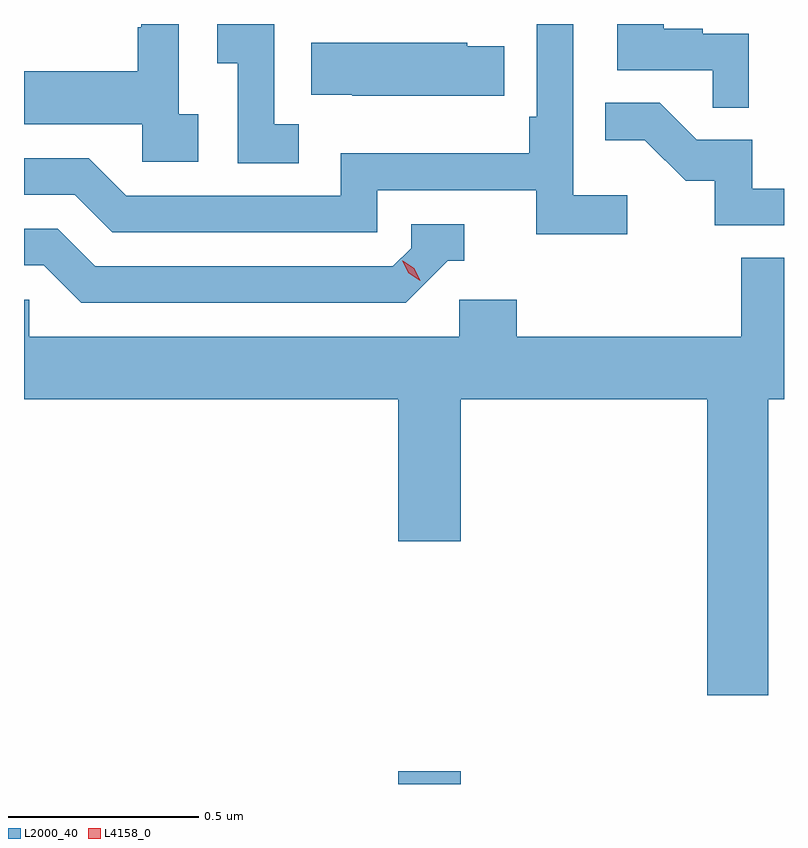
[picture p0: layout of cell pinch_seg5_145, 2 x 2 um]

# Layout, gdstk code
import gdstk
lib = gdstk.Library(unit=1e-6, precision=1e-09)
def R(c, l, rs):  # rectangles x0, y0, x1, y1
    for r in rs: c.add(gdstk.rectangle(r[:2], r[2:], *l))
def P(c, l, *ps):  # polygons
    for p in ps: c.add(gdstk.Polygon(p, *l))
L2000_40 = (2000, 40)
L4158_0 = (4158, 0)

pinch_seg5_145 = lib.new_cell('pinch_seg5_145')
R(pinch_seg5_145, L2000_40, [(1016.156,873.063,1016.32,873.097)])
P(pinch_seg5_145, L2000_40, [(1015.894,874.799),(1015.83,874.799),(1015.83,875.063),(1015.679,875.063),(1015.679,874.96),(1015.734,874.96),(1015.734,874.696),(1015.894,874.696)],
  [(1016.758,874.612),(1016.616,874.612),(1016.616,875.063),(1016.52,875.063),(1016.52,874.819),(1016.5,874.819),(1016.5,874.723),(1016.004,874.723),(1016.004,874.611),(1015.44,874.611),(1015.341,874.71),(1015.171,874.71),(1015.171,874.614),(1015.304,874.614),(1015.403,874.515),(1016.1,874.515),(1016.1,874.626),(1016.519,874.626),(1016.519,874.51),(1016.758,874.51)],
  [(1015.63,874.826),(1015.578,874.826),(1015.578,875.063),(1015.48,875.063),(1015.48,875.054),(1015.47,875.054),(1015.47,874.939),(1015.171,874.939),(1015.171,874.799),(1015.482,874.799),(1015.482,874.701),(1015.63,874.701)],
  [(1017.078,875.037),(1016.957,875.037),(1016.957,875.05),(1016.854,875.05),(1016.854,875.063),(1016.732,875.063),(1016.732,874.941),(1016.983,874.941),(1016.983,874.843),(1017.078,874.843)],
  [(1016.435,875.004),(1016.337,875.004),(1016.337,875.014),(1015.927,875.014),(1015.927,874.877),(1016.035,874.877),(1016.035,874.874),(1016.435,874.874)],
  [(1017.171,874.629),(1017.087,874.629),(1017.087,874.758),(1016.942,874.758),(1016.844,874.856),(1016.701,874.856),(1016.701,874.757),(1016.805,874.757),(1016.912,874.65),(1016.989,874.65),(1016.989,874.533),(1017.171,874.533)],
  [(1016.286,874.44),(1016.329,874.44),(1016.329,874.536),(1016.19,874.536),(1016.19,874.473),(1016.142,874.425),(1015.359,874.425),(1015.26,874.524),(1015.171,874.524),(1015.171,874.428),(1015.223,874.428),(1015.322,874.329),(1016.175,874.329)],
  [(1017.129,874.076),(1017.171,874.076),(1017.171,874.448),(1017.059,874.448),(1017.059,874.24),(1016.468,874.24),(1016.468,874.338),(1016.316,874.338),(1016.316,874.24),(1015.185,874.24),(1015.185,874.338),(1015.171,874.338),(1015.171,874.076),(1016.156,874.076),(1016.156,873.702),(1016.32,873.702),(1016.32,874.076),(1016.969,874.076),(1016.969,873.297),(1017.129,873.297)])
P(pinch_seg5_145, L4158_0, [(1016.214,874.388),(1016.183,874.407),(1016.167,874.44),(1016.167,874.44),(1016.168,874.44),(1016.198,874.42),(1016.214,874.388),(1016.214,874.388)])

lib.write_gds('pinch_seg5_145.gds')
